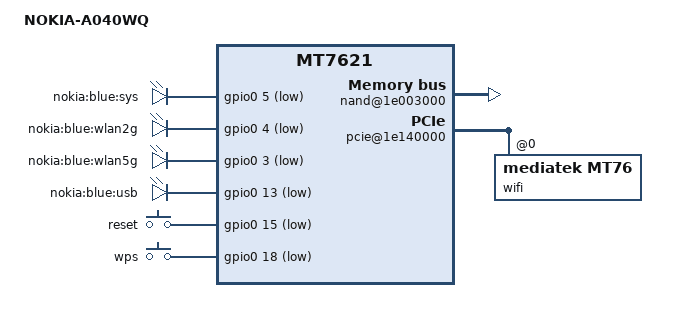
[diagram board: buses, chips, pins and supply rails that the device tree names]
/dts-v1/;

/include/ "mt7621.dtsi"

/ {
	compatible = "nokia-a040wq", "mediatek,mt7621-soc";
	model = "NOKIA-A040WQ";

	palmbus@1E000000 {
		spi@b00 {
			status="disabled";
		};
	};

	chosen {
		bootargs = "console=ttyS0,115200";
	};

	nand@1e003000 {
		status = "okay";

		partition@0 {
			label = "u-boot";
			reg = <0x0 0x80000>;
			read-only;
		};

		partition@80000 {
			label = "u-boot-env";
			reg = <0x80000 0x80000>;
			read-only;
		};

		factory: partition@100000 {
			label = "factory";
			reg = <0x100000 0x40000>;
			read-only;
		};
		
		partition@140000 {
			label = "kernel";
			reg = <0x140000 0x200000>;
		};

		partition@340000 {
			label = "ubi";
			reg = <0x340000 0x7a00000>;
		};
	};

	pcie@1e140000 {
		status = "okay";

		pcie0 {
			wifi@0,0 {
				compatible = "mediatek,mt76";
				reg = <0x0000 0 0 0 0>;
				device_type = "pci";
				mediatek,mtd-eeprom = <&factory 0x0>;

				led {
					led-sources = <3>;
					led-active-low;
				};
			};
		};
	};

	ethernet@1e100000 {
		mtd-mac-address = <&factory 0x4>;
	};	

	gpio-leds {
		compatible = "gpio-leds";

		sys {
			label = "nokia:blue:sys";
			gpios = <&gpio0 5 1>;
		};

		wlan2g {
			label = "nokia:blue:wlan2g";
			gpios = <&gpio0 4 1>;
		};

		wlan5g {
			label = "nokia:blue:wlan5g";
			gpios = <&gpio0 3 1>;
		};

		usb {
			label = "nokia:blue:usb";
			gpios = <&gpio0 13 1>;
			trigger-sources = <&xhci_ehci_port1>, <&ehci_port2>;
			linux,default-trigger = "usbport";
		};
	};

	gpio-keys-polled {
		compatible = "gpio-keys-polled";
		#address-cells = <1>;
		#size-cells = <0>;
		poll-interval = <20>;

		reset {
			label = "reset";
			gpios = <&gpio0 15 1>;
			linux,code = <0x198>;
		};

		wps {
			label = "wps";
			gpios = <&gpio0 18 1>;
			linux,code = <0x211>;
		};
	};

	pinctrl {
		state_default: pinctrl0 {
			gpio {
				ralink,group = "i2c", "jtag", "uart2", "uart3", "wdt";
				ralink,function = "gpio";
			};
		};
	};

};
